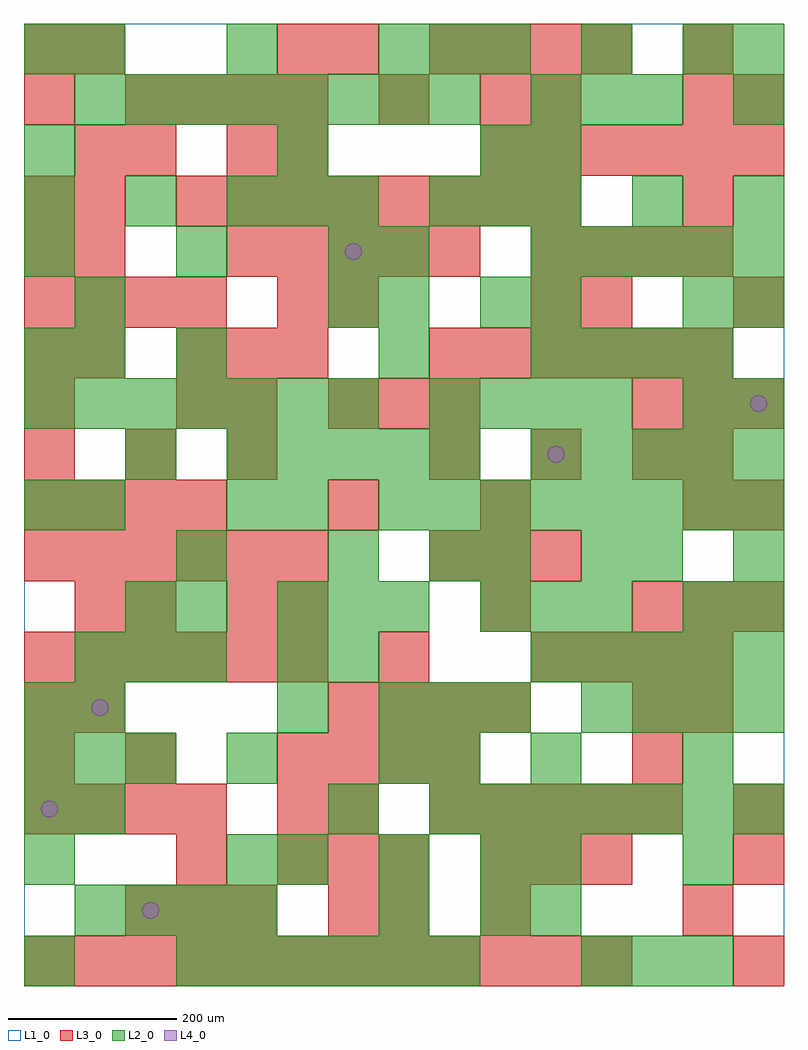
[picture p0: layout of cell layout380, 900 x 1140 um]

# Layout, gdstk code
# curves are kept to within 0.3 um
import gdstk
lib = gdstk.Library(unit=1e-6, precision=1e-09)
def R(c, l, rs):  # rectangles x0, y0, x1, y1
    for r in rs: c.add(gdstk.rectangle(r[:2], r[2:], *l))
def A(c, l, x, y, w, h, nx, ny, dx, dy):  # array of equal rectangles
    R(c, l, [(x+i*dx, y+j*dy, x+i*dx+w, y+j*dy+h) for i in range(nx) for j in range(ny)])
def P(c, l, *ps):  # polygons
    for p in ps: c.add(gdstk.Polygon(p, *l))
L1_0 = (1, 0)
L2_0 = (2, 0)
L3_0 = (3, 0)
L4_0 = (4, 0)

layout380 = lib.new_cell('layout380')
R(layout380, L1_0, [(0,0,900,1140)])
A(layout380, L2_0, 180, 0, 60, 60, 6, 1, 60, 0)
A(layout380, L2_0, 660, 0, 60, 60, 3, 1, 60, 0)
A(layout380, L2_0, 60, 60, 60, 60, 4, 1, 60, 0)
A(layout380, L2_0, 300, 120, 60, 60, 3, 1, 120, 0)
A(layout380, L2_0, 480, 180, 60, 60, 7, 1, 60, 0)
A(layout380, L2_0, 0, 240, 60, 60, 3, 1, 60, 0)
A(layout380, L2_0, 420, 300, 60, 60, 3, 1, 60, 0)
A(layout380, L2_0, 660, 300, 60, 60, 4, 1, 60, 0)
A(layout380, L2_0, 60, 360, 60, 60, 3, 1, 60, 0)
A(layout380, L2_0, 600, 360, 60, 60, 5, 3, 60, 240)
A(layout380, L2_0, 300, 420, 60, 60, 3, 1, 60, 0)
A(layout380, L2_0, 540, 420, 60, 60, 3, 1, 60, 0)
A(layout380, L2_0, 420, 540, 60, 60, 8, 1, 60, 0)
A(layout380, L2_0, 240, 600, 60, 60, 5, 1, 60, 0)
A(layout380, L2_0, 0, 660, 60, 60, 7, 1, 60, 0)
A(layout380, L2_0, 480, 660, 60, 60, 4, 1, 60, 0)
A(layout380, L2_0, 840, 660, 60, 60, 1, 4, 0, 120)
A(layout380, L2_0, 420, 720, 60, 60, 1, 3, 0, 60)
A(layout380, L2_0, 600, 720, 60, 60, 4, 1, 60, 0)
A(layout380, L2_0, 0, 840, 60, 60, 3, 1, 180, 0)
A(layout380, L2_0, 0, 900, 60, 60, 3, 1, 120, 0)
A(layout380, L2_0, 480, 900, 60, 60, 3, 1, 60, 0)
A(layout380, L2_0, 60, 1020, 60, 60, 8, 1, 60, 0)
A(layout380, L2_0, 600, 1020, 60, 60, 3, 1, 60, 0)
A(layout380, L2_0, 60, 1080, 60, 60, 3, 1, 180, 0)
A(layout380, L2_0, 540, 1080, 60, 60, 3, 1, 120, 0)
R(layout380, L2_0, [(0,0,60,60), (420,60,480,120), (540,60,600,120), (600,60,660,120), (0,120,60,180), (240,120,300,180), (600,120,660,180), (780,120,840,180), (0,180,60,240), (60,180,120,240), (360,180,420,240), (240,240,300,300), (420,240,480,300), (480,240,540,300), (600,240,660,300), (780,240,840,300), (0,300,60,360), (60,300,120,360), (300,300,360,360), (300,360,360,420), (360,360,420,420), (120,420,180,480), (180,420,240,480), (780,420,840,480), (840,420,900,480), (180,480,240,540), (360,480,420,540), (480,480,540,540), (540,480,600,540), (660,480,720,540), (720,480,780,540), (840,480,900,540), (0,540,60,600), (60,540,120,600), (240,540,300,600), (300,540,360,600), (120,600,180,660), (780,660,840,720), (0,720,60,780), (60,720,120,780), (180,720,240,780), (60,780,120,840), (360,780,420,840), (540,780,600,840), (600,780,660,840), (780,780,840,840), (300,900,360,960), (360,900,420,960), (720,900,780,960), (0,960,60,1020), (300,960,360,1020), (540,960,600,1020), (600,960,660,1020), (0,1080,60,1140), (480,1080,540,1140), (840,1080,900,1140)])
A(layout380, L3_0, 0, 0, 60, 60, 12, 1, 60, 0)
A(layout380, L3_0, 120, 60, 60, 60, 3, 1, 60, 0)
A(layout380, L3_0, 780, 60, 60, 60, 1, 3, 0, 240)
A(layout380, L3_0, 300, 120, 60, 60, 3, 1, 60, 0)
A(layout380, L3_0, 540, 120, 60, 60, 3, 1, 60, 0)
A(layout380, L3_0, 0, 180, 60, 60, 4, 2, 60, 360)
A(layout380, L3_0, 480, 180, 60, 60, 5, 1, 60, 0)
A(layout380, L3_0, 300, 240, 60, 60, 4, 1, 60, 0)
A(layout380, L3_0, 360, 300, 60, 60, 4, 1, 60, 0)
A(layout380, L3_0, 0, 360, 60, 60, 6, 2, 60, 120)
A(layout380, L3_0, 600, 360, 60, 60, 4, 2, 60, 480)
A(layout380, L3_0, 720, 420, 60, 60, 3, 2, 60, 240)
A(layout380, L3_0, 480, 480, 60, 60, 3, 1, 60, 0)
A(layout380, L3_0, 840, 540, 60, 60, 1, 3, 0, 240)
A(layout380, L3_0, 0, 600, 60, 60, 3, 1, 120, 0)
A(layout380, L3_0, 480, 600, 60, 60, 3, 1, 120, 0)
A(layout380, L3_0, 360, 660, 60, 60, 3, 1, 60, 0)
A(layout380, L3_0, 180, 720, 60, 60, 3, 1, 60, 0)
A(layout380, L3_0, 480, 720, 60, 60, 6, 1, 60, 0)
A(layout380, L3_0, 0, 780, 60, 60, 4, 1, 60, 0)
A(layout380, L3_0, 60, 840, 60, 60, 1, 3, 0, 60)
A(layout380, L3_0, 240, 840, 60, 60, 5, 1, 60, 0)
A(layout380, L3_0, 180, 900, 60, 60, 8, 1, 60, 0)
A(layout380, L3_0, 540, 960, 60, 60, 6, 1, 60, 0)
A(layout380, L3_0, 120, 1020, 60, 60, 4, 1, 60, 0)
A(layout380, L3_0, 480, 1080, 60, 60, 4, 1, 60, 0)
R(layout380, L3_0, [(840,0,900,60), (360,60,420,120), (420,60,480,120), (540,60,600,120), (180,120,240,180), (840,120,900,180), (300,180,360,240), (360,180,420,240), (840,180,900,240), (0,240,60,300), (120,240,180,300), (720,240,780,300), (0,300,60,360), (60,300,120,360), (720,300,780,360), (420,360,480,420), (60,420,120,480), (120,420,180,480), (240,420,300,480), (300,420,360,480), (540,420,600,480), (360,540,420,600), (540,540,600,600), (780,600,840,660), (0,660,60,720), (180,660,240,720), (240,660,300,720), (0,720,60,780), (60,720,120,780), (300,780,360,840), (360,780,420,840), (600,780,660,840), (660,780,720,840), (0,840,60,900), (0,900,60,960), (780,900,840,960), (120,960,180,1020), (240,960,300,1020), (300,960,360,1020), (0,1020,60,1080), (420,1020,480,1080), (540,1020,600,1080), (600,1020,660,1080), (780,1020,840,1080), (0,1080,60,1140), (60,1080,120,1140), (300,1080,360,1140), (360,1080,420,1140), (780,1080,840,1140)])
P(layout380, L4_0, [(40,210),(39.239,213.827),(37.071,217.071),(33.827,219.239),(30,220),(26.173,219.239),(22.929,217.071),(20.761,213.827),(20,210),(20.761,206.173),(22.929,202.929),(26.173,200.761),(30,200),(33.827,200.761),(37.071,202.929),(39.239,206.173)],
  [(100,330),(99.239,333.827),(97.071,337.071),(93.827,339.239),(90,340),(86.173,339.239),(82.929,337.071),(80.761,333.827),(80,330),(80.761,326.173),(82.929,322.929),(86.173,320.761),(90,320),(93.827,320.761),(97.071,322.929),(99.239,326.173)],
  [(160,90),(159.239,93.827),(157.071,97.071),(153.827,99.239),(150,100),(146.173,99.239),(142.929,97.071),(140.761,93.827),(140,90),(140.761,86.173),(142.929,82.929),(146.173,80.761),(150,80),(153.827,80.761),(157.071,82.929),(159.239,86.173)],
  [(400,870),(399.239,873.827),(397.071,877.071),(393.827,879.239),(390,880),(386.173,879.239),(382.929,877.071),(380.761,873.827),(380,870),(380.761,866.173),(382.929,862.929),(386.173,860.761),(390,860),(393.827,860.761),(397.071,862.929),(399.239,866.173)],
  [(640,630),(639.239,633.827),(637.071,637.071),(633.827,639.239),(630,640),(626.173,639.239),(622.929,637.071),(620.761,633.827),(620,630),(620.761,626.173),(622.929,622.929),(626.173,620.761),(630,620),(633.827,620.761),(637.071,622.929),(639.239,626.173)],
  [(880,690),(879.239,693.827),(877.071,697.071),(873.827,699.239),(870,700),(866.173,699.239),(862.929,697.071),(860.761,693.827),(860,690),(860.761,686.173),(862.929,682.929),(866.173,680.761),(870,680),(873.827,680.761),(877.071,682.929),(879.239,686.173)])

lib.write_gds('layout380.gds')
